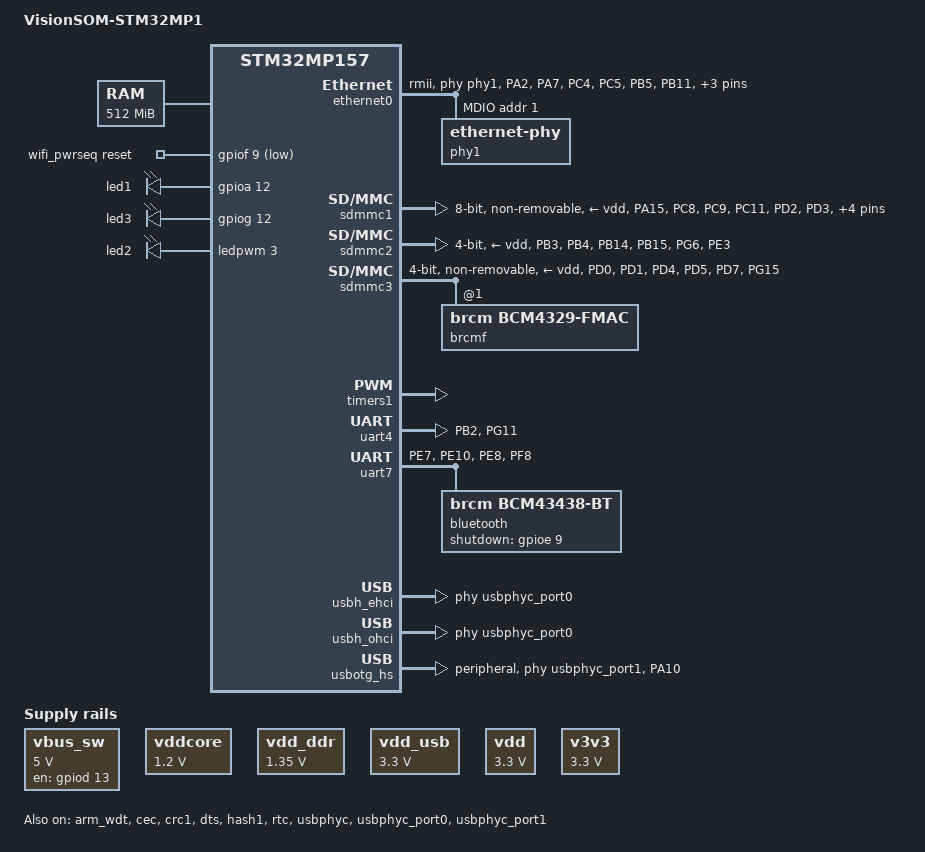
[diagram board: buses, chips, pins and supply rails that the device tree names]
/dts-v1/;

#include "stm32mp157.dtsi"
#include "stm32mp15xa.dtsi"
#include "stm32mp15-pinctrl.dtsi"
#include "stm32mp15xxaa-pinctrl.dtsi"
#include "stm32mp15-m4-srm.dtsi"
#include "stm32mp15-m4-srm-pinctrl.dtsi"
#include "stm32mp15-scmi.dtsi"

#include <dt-bindings/rtc/rtc-stm32.h>

/ {
        model = "VisionSOM-STM32MP1";
        compatible = "st,stm32mp157a-dsi-rvt70hsmnwc00-emmc-mx", "st,stm32mp157";

        aliases {
                ethernet0 = &ethernet0;
                serial0 = &uart4;
                serial1 = &uart7;
                mmc0 = &sdmmc1;
                mmc1 = &sdmmc2;
                mmc2 = &sdmmc3;
        };

        chosen {
                stdout-path = "serial0:115200n8";
        };

        memory@c0000000 {
                device_type = "memory";
                reg = <0xc0000000 0x20000000>;
        };

        usb_phy_tuning: usb-phy-tuning {
                st,hs-dc-level = <2>;
                st,fs-rftime-tuning;
                st,hs-rftime-reduction;
                st,hs-current-trim = <15>;
                st,hs-impedance-trim = <1>;
                st,squelch-level = <3>;
                st,hs-rx-offset = <2>;
                st,no-lsfs-sc;
        };

        vbus_sw: regulator_vbus_sw {
                compatible = "regulator-fixed";
                regulator-name = "usb_vbus";
                regulator-min-microvolt = <5000000>;
                regulator-max-microvolt = <5000000>;
                gpio = <&gpiod 13 GPIO_ACTIVE_HIGH>;
                enable-active-high;
                regulator-always-on;
        };

        vddcore: regulator-vddcore {
                compatible = "regulator-fixed";
                regulator-name = "vddcore";
                regulator-min-microvolt = <1200000>;
                regulator-max-microvolt = <1200000>;
                regulator-always-on;
        };

        vdd_ddr: regulator-vdd_ddr {
                compatible = "regulator-fixed";
                regulator-name = "vdd_ddr";
                regulator-min-microvolt = <1350000>;
                regulator-max-microvolt = <1350000>;
                regulator-always-on;
        };

        vdd_usb: regulator-vdd_usb {
                compatible = "regulator-fixed";
                regulator-name = "vdd_usb";
                regulator-min-microvolt = <3300000>;
                regulator-max-microvolt = <3300000>;
                regulator-always-on;
        };

        vdd: regulator-vdd {
                compatible = "regulator-fixed";
                regulator-name = "vdd";
                regulator-min-microvolt = <3300000>;
                regulator-max-microvolt = <3300000>;
                regulator-always-on;
        };

        v3v3: regulator-v3v3 {
                compatible = "regulator-fixed";
                regulator-name = "v3v3";
                regulator-min-microvolt = <3300000>;
                regulator-max-microvolt = <3300000>;
                regulator-always-on;
        };

        wifi_pwrseq: wifi-pwrseq {
                compatible = "mmc-pwrseq-simple";
                reset-gpios = <&gpiof 9 GPIO_ACTIVE_LOW>;
        };

        reserved-memory {
                #address-cells = <1>;
                #size-cells = <1>;
                ranges;

                gpu_reserved: gpu@d4000000 {
                        reg = <0xd4000000 0x4000000>;
                        no-map;
                };

                optee@de000000 {
                        reg = <0xde000000 0x2000000>;
                        no-map;
                };
        };

        led {
                compatible = "gpio-leds";

                led1 {
                        label = "led1";
                        gpios = <&gpioa 12 GPIO_ACTIVE_HIGH>;
                        linux,default-trigger = "heartbeat";
                };

                led3 {
                        label = "led3";
                        gpios = <&gpiog 12 GPIO_ACTIVE_HIGH>;
                        default-state = "off";
                };

        };

        ledpwm {
                compatible = "pwm-leds";
                led2 {
                        label = "led2";
                        pwms = <&ledpwm 3 500000 0>;
                        max-brightness = <127>;
                };
        };
};

&arm_wdt {
        timeout-sec = <32>;
        status = "okay";
};

&cec {
        pinctrl-names = "default", "sleep";
        pinctrl-0 = <&cec_pins_b>;
        pinctrl-1 = <&cec_sleep_pins_b>;
        status = "okay";
};

&cpu0 {
        cpu-supply = <&vddcore>;
        clocks = <&scmi_clk CK_SCMI_MPU>;
};

&cpu1 {
        cpu-supply = <&vddcore>;
        clocks = <&scmi_clk CK_SCMI_MPU>;
};

&crc1 {
        status = "okay";
};

&dsi {
        clocks = <&rcc DSI>, <&scmi_clk CK_SCMI_HSE>, <&rcc DSI_PX>;
};

&dts {
        status = "okay";
};

&ethernet0 {
        pinctrl-names = "default", "sleep";
        pinctrl-0 = <&eth1_pins_mx>;
        pinctrl-1 = <&eth1_sleep_pins_mx>;
        status = "okay";

        phy-mode = "rmii";
        max-speed = <100>;
        phy-handle = <&phy1>;
        st,eth-ref-clk-sel;
        clock-names = "stmmaceth",
                "eth-ck",
                "mac-clk-tx",
                "mac-clk-rx",
                "ethstp";
        clocks = <&rcc ETHMAC>,
                <&rcc ETHCK_K>,
                <&rcc ETHTX>,
                <&rcc ETHRX>,
                <&rcc ETHSTP>;

        mdio0 {
                #address-cells = <1>;
                #size-cells = <0>;
                compatible = "snps,dwmac-mdio";
                phy1: ethernet-phy@1 {
                        reg = <1>;
                        clocks = <&rcc ETHCK_K>;
                        clock-names = "rmii-ref";
                };
        };
};

&gpioz {
        clocks = <&scmi_clk CK_SCMI_GPIOZ>;
};

&gpu {
        contiguous-area = <&gpu_reserved>;
};

&hash1 {
        clocks = <&scmi_clk CK_SCMI_HASH1>;
        resets = <&scmi_reset RST_SCMI_HASH1>;
        status = "okay";
};

&ipcc {
        status = "okay";
};

&mdma1 {
        resets = <&scmi_reset RST_SCMI_MDMA>;
};

&mlahb {
        resets = <&scmi_reset RST_SCMI_MCU>;
};

&pwr_regulators {
        vdd-supply = <&vdd>;
        vdd_3v3_usbfs-supply = <&vdd_usb>;
};

&rcc {
        compatible = "st,stm32mp1-rcc-secure", "syscon";
        clock-names = "hse", "hsi", "csi", "lse", "lsi";
        clocks = <&scmi_clk CK_SCMI_HSE>,
                 <&scmi_clk CK_SCMI_HSI>,
                 <&scmi_clk CK_SCMI_CSI>,
                 <&scmi_clk CK_SCMI_LSE>,
                 <&scmi_clk CK_SCMI_LSI>;
};

&rng1 {
        clocks = <&scmi_clk CK_SCMI_RNG1>;
        resets = <&scmi_reset RST_SCMI_RNG1>;
};

&rtc {
        pinctrl-names = "default", "sleep";
        pinctrl-0 = <&rtc_pins_mx>;
        pinctrl-1 = <&rtc_sleep_pins_mx>;

        clocks = <&scmi_clk CK_SCMI_RTCAPB>, <&scmi_clk CK_SCMI_RTC>;
        status = "okay";

        st,lsco = <RTC_OUT1>;
};

&sdmmc1{
        pinctrl-names = "default", "opendrain", "sleep";
        pinctrl-0 = <&sdmmc1_pins_mx>;
        pinctrl-1 = <&sdmmc1_opendrain_pins_mx>;
        pinctrl-2 = <&sdmmc1_sleep_pins_mx>;
        status = "okay";

        non-removable;
        no-sd;
        no-sdio;
        st,neg-edge;
        bus-width = <8>;
        vmmc-supply = <&vdd>;
        vqmmc-supply = <&vdd>;
        mmc-ddr-3_3v;
};

&sdmmc2{
        pinctrl-names = "default", "opendrain", "sleep";
        pinctrl-0 = <&sdmmc2_pins_mx>;
        pinctrl-1 = <&sdmmc2_opendrain_pins_mx>;
        pinctrl-2 = <&sdmmc2_sleep_pins_mx>;
        status = "okay";

        broken-cd;
        st,neg-edge;
        bus-width = <4>;
        vmmc-supply = <&vdd>;
};

&sdmmc3{
        pinctrl-names = "default", "opendrain", "sleep";
        pinctrl-0 = <&sdmmc3_pins_mx>;
        pinctrl-1 = <&sdmmc3_opendrain_pins_mx>;
        pinctrl-2 = <&sdmmc3_sleep_pins_mx>;
        status = "okay";

        arm,primecell-periphid = <0x10153180>;
        non-removable;
        st,neg-edge;
        bus-width = <4>;
        vmmc-supply = <&vdd>;
        mmc-pwrseq = <&wifi_pwrseq>;
        #address-cells = <1>;
        #size-cells = <0>;
        keep-power-in-suspend;

        brcmf: bcrmf@1 {
                reg = <1>;
                compatible = "brcm,bcm4329-fmac";
        };
};

&timers1{
        status = "okay";

        /delete-property/dmas;
        /delete-property/dma-names;

        ledpwm: pwm{
                pinctrl-names = "default", "sleep";
                pinctrl-0 = <&tim1_pwm_pins_mx>;
                pinctrl-1 = <&tim1_pwm_sleep_pins_mx>;
                status = "okay";
        };
};

&uart4 {
        pinctrl-names = "default", "idle", "sleep";
        pinctrl-0 = <&uart4_pins_mx>;
        pinctrl-1 = <&uart4_idle_pins_mx>;
        pinctrl-2 = <&uart4_sleep_pins_mx>;
        status = "okay";

        /delete-property/dmas;
        /delete-property/dma-names;
};

&uart7 {
        pinctrl-names = "default", "idle", "sleep";
        pinctrl-0 = <&uart7_pins_mx>;
        pinctrl-1 = <&uart7_idle_pins_mx>;
        pinctrl-2 = <&uart7_sleep_pins_mx>;
        status = "okay";

        u-boot,dm-pre-reloc;
        uart-has-rtscts;

        bluetooth {
                shutdown-gpios = <&gpioe 9 GPIO_ACTIVE_HIGH>;
                compatible = "brcm,bcm43438-bt";
                max-speed = <3000000>;
        };
};

&usbh_ehci{
        status = "okay";

        phys = <&usbphyc_port0>;
        phy-names = "usb";
};

&usbh_ohci{
        status = "okay";

        phys = <&usbphyc_port0>;
        phy-names = "usb";
};

&usbotg_hs{
        pinctrl-names = "default", "sleep";
        pinctrl-0 = <&usb_otg_hs_pins_mx>;
        pinctrl-1 = <&usb_otg_hs_sleep_pins_mx>;
        status = "okay";

        dr_mode = "peripheral";
        force-b-session-valid;
        phys = <&usbphyc_port1 0>;
        phy-names = "usb2-phy";
};

&usbphyc{
        status = "okay";
};

&usbphyc_port0{
        status = "okay";

        phy-supply = <&vdd>;
        st,phy-tuning = <&usb_phy_tuning>;
};

&usbphyc_port1{
        status = "okay";

        phy-supply = <&vdd>;
        st,phy-tuning = <&usb_phy_tuning>;
};

&pinctrl {
        eth1_pins_mx: eth1_mx-0 {
                pins1 {
                        pinmux = <STM32_PINMUX('A', 2, AF11)>; /* ETH1_MDIO */
                        bias-pull-up;
                        drive-push-pull;
                        slew-rate = <0>;
                };
                pins2 {
                        pinmux = <STM32_PINMUX('A', 7, AF11)>, /* ETH1_CRS_DV */
                                         <STM32_PINMUX('C', 4, AF11)>, /* ETH1_RXD0 */
                                         <STM32_PINMUX('C', 5, AF11)>; /* ETH1_RXD1 */
                        bias-disable;
                };
                pins3 {
                        pinmux = <STM32_PINMUX('B', 5, AF0)>, /* ETH1_CLK */
                                         <STM32_PINMUX('B', 11, AF11)>, /* ETH1_TX_EN */
                                         <STM32_PINMUX('B', 13, AF11)>, /* ETH1_TXD1 */
                                         <STM32_PINMUX('C', 1, AF11)>, /* ETH1_MDC */
                                         <STM32_PINMUX('G', 13, AF11)>; /* ETH1_TXD0 */
                        bias-disable;
                        drive-push-pull;
                        slew-rate = <1>;
                };
        };

        eth1_sleep_pins_mx: eth1_sleep_mx-0 {
                pins {
                        pinmux = <STM32_PINMUX('A', 2, ANALOG)>, /* ETH1_MDIO */
                                         <STM32_PINMUX('A', 7, ANALOG)>, /* ETH1_CRS_DV */
                                         <STM32_PINMUX('B', 5, ANALOG)>, /* ETH1_CLK */
                                         <STM32_PINMUX('B', 11, ANALOG)>, /* ETH1_TX_EN */
                                         <STM32_PINMUX('B', 13, ANALOG)>, /* ETH1_TXD1 */
                                         <STM32_PINMUX('C', 1, ANALOG)>, /* ETH1_MDC */
                                         <STM32_PINMUX('C', 4, ANALOG)>, /* ETH1_RXD0 */
                                         <STM32_PINMUX('C', 5, ANALOG)>, /* ETH1_RXD1 */
                                         <STM32_PINMUX('G', 13, ANALOG)>; /* ETH1_TXD0 */
                };
        };

        rtc_pins_mx: rtc_mx-0 {
                pins {
                        pinmux = <STM32_PINMUX('C', 13, ANALOG)>; /* RTC_LSCO */
                };
        };

        rtc_sleep_pins_mx: rtc_sleep_mx-0 {
                pins {
                        pinmux = <STM32_PINMUX('C', 13, ANALOG)>; /* RTC_LSCO */
                };
        };

        sdmmc1_pins_mx: sdmmc1_mx-0 {
                pins1 {
                        pinmux = <STM32_PINMUX('A', 15, AF11)>, /* SDMMC1_D5 */
                                         <STM32_PINMUX('C', 8, AF12)>, /* SDMMC1_D0 */
                                         <STM32_PINMUX('C', 9, AF12)>, /* SDMMC1_D1 */
                                         <STM32_PINMUX('C', 11, AF12)>, /* SDMMC1_D3 */
                                         <STM32_PINMUX('D', 2, AF12)>, /* SDMMC1_CMD */
                                         <STM32_PINMUX('D', 3, AF11)>, /* SDMMC1_D7 */
                                         <STM32_PINMUX('E', 4, AF11)>, /* SDMMC1_D4 */
                                         <STM32_PINMUX('E', 5, AF11)>, /* SDMMC1_D6 */
                                         <STM32_PINMUX('E', 6, AF8)>; /* SDMMC1_D2 */
                        bias-pull-up;
                        drive-push-pull;
                        slew-rate = <1>;
                };
                pins2 {
                        pinmux = <STM32_PINMUX('C', 12, AF12)>; /* SDMMC1_CK */
                        bias-pull-up;
                        drive-push-pull;
                        slew-rate = <3>;
                };
        };

        sdmmc1_opendrain_pins_mx: sdmmc1_opendrain_mx-0 {
                pins1 {
                        pinmux = <STM32_PINMUX('A', 15, AF11)>, /* SDMMC1_D5 */
                                         <STM32_PINMUX('C', 8, AF12)>, /* SDMMC1_D0 */
                                         <STM32_PINMUX('C', 9, AF12)>, /* SDMMC1_D1 */
                                         <STM32_PINMUX('C', 11, AF12)>, /* SDMMC1_D3 */
                                         <STM32_PINMUX('D', 3, AF11)>, /* SDMMC1_D7 */
                                         <STM32_PINMUX('E', 4, AF11)>, /* SDMMC1_D4 */
                                         <STM32_PINMUX('E', 5, AF11)>, /* SDMMC1_D6 */
                                         <STM32_PINMUX('E', 6, AF8)>; /* SDMMC1_D2 */
                        bias-pull-up;
                        drive-push-pull;
                        slew-rate = <1>;
                };
                pins2 {
                        pinmux = <STM32_PINMUX('C', 12, AF12)>; /* SDMMC1_CK */
                        bias-pull-up;
                        drive-push-pull;
                        slew-rate = <3>;
                };
                pins3 {
                        pinmux = <STM32_PINMUX('D', 2, AF12)>; /* SDMMC1_CMD */
                        bias-pull-up;
                        drive-open-drain;
                        slew-rate = <1>;
                };
        };
  
        sdmmc1_sleep_pins_mx: sdmmc1_sleep_mx-0 {
                pins {
                        pinmux = <STM32_PINMUX('A', 15, ANALOG)>, /* SDMMC1_D5 */
                                         <STM32_PINMUX('C', 8, ANALOG)>, /* SDMMC1_D0 */
                                         <STM32_PINMUX('C', 9, ANALOG)>, /* SDMMC1_D1 */
                                         <STM32_PINMUX('C', 11, ANALOG)>, /* SDMMC1_D3 */
                                         <STM32_PINMUX('C', 12, ANALOG)>, /* SDMMC1_CK */
                                         <STM32_PINMUX('D', 2, ANALOG)>, /* SDMMC1_CMD */
                                         <STM32_PINMUX('D', 3, ANALOG)>, /* SDMMC1_D7 */
                                         <STM32_PINMUX('E', 4, ANALOG)>, /* SDMMC1_D4 */
                                         <STM32_PINMUX('E', 5, ANALOG)>, /* SDMMC1_D6 */
                                         <STM32_PINMUX('E', 6, ANALOG)>; /* SDMMC1_D2 */
                };
        };

        sdmmc2_pins_mx: sdmmc2_mx-0 {
                pins1 {
                        pinmux = <STM32_PINMUX('B', 3, AF9)>, /* SDMMC2_D2 */
                                         <STM32_PINMUX('B', 4, AF9)>, /* SDMMC2_D3 */
                                         <STM32_PINMUX('B', 14, AF9)>, /* SDMMC2_D0 */
                                         <STM32_PINMUX('B', 15, AF9)>, /* SDMMC2_D1 */
                                         <STM32_PINMUX('G', 6, AF10)>; /* SDMMC2_CMD */
                        bias-pull-up;
                        drive-push-pull;
                        slew-rate = <1>;
                };
                pins2 {
                        pinmux = <STM32_PINMUX('E', 3, AF9)>; /* SDMMC2_CK */
                        bias-pull-up;
                        drive-push-pull;
                        slew-rate = <3>;
                };
        };

        sdmmc2_opendrain_pins_mx: sdmmc2_opendrain_mx-0 {
                pins1 {
                        pinmux = <STM32_PINMUX('B', 3, AF9)>, /* SDMMC2_D2 */
                                         <STM32_PINMUX('B', 4, AF9)>, /* SDMMC2_D3 */
                                         <STM32_PINMUX('B', 14, AF9)>, /* SDMMC2_D0 */
                                         <STM32_PINMUX('B', 15, AF9)>; /* SDMMC2_D1 */
                        bias-pull-up;
                        drive-push-pull;
                        slew-rate = <1>;
                };
                pins2 {
                        pinmux = <STM32_PINMUX('E', 3, AF9)>; /* SDMMC2_CK */
                        bias-pull-up;
                        drive-push-pull;
                        slew-rate = <3>;
                };
                pins3 {
                        pinmux = <STM32_PINMUX('G', 6, AF10)>; /* SDMMC2_CMD */
                        bias-pull-up;
                        drive-open-drain;
                        slew-rate = <1>;
                };
        };

        sdmmc2_sleep_pins_mx: sdmmc2_sleep_mx-0 {
                pins {
                        pinmux = <STM32_PINMUX('B', 3, ANALOG)>, /* SDMMC2_D2 */
                                         <STM32_PINMUX('B', 4, ANALOG)>, /* SDMMC2_D3 */
                                         <STM32_PINMUX('B', 14, ANALOG)>, /* SDMMC2_D0 */
                                         <STM32_PINMUX('B', 15, ANALOG)>, /* SDMMC2_D1 */
                                         <STM32_PINMUX('E', 3, ANALOG)>, /* SDMMC2_CK */
                                         <STM32_PINMUX('G', 6, ANALOG)>; /* SDMMC2_CMD */
                };
        };

        sdmmc3_pins_mx: sdmmc3_mx-0 {
                pins1 {
                        pinmux = <STM32_PINMUX('D', 0, AF10)>, /* SDMMC3_CMD */
                                         <STM32_PINMUX('D', 1, AF10)>, /* SDMMC3_D0 */
                                         <STM32_PINMUX('D', 4, AF10)>, /* SDMMC3_D1 */
                                         <STM32_PINMUX('D', 5, AF10)>, /* SDMMC3_D2 */
                                         <STM32_PINMUX('D', 7, AF10)>; /* SDMMC3_D3 */
                        bias-disable;
                        drive-push-pull;
                        slew-rate = <1>;
                };
                pins2 {
                        pinmux = <STM32_PINMUX('G', 15, AF10)>; /* SDMMC3_CK */
                        bias-disable;
                        drive-push-pull;
                        slew-rate = <3>;
                };
        };

        sdmmc3_opendrain_pins_mx: sdmmc3_opendrain_mx-0 {
                pins1 {
                        pinmux = <STM32_PINMUX('D', 0, AF10)>; /* SDMMC3_CMD */
                        bias-disable;
                        drive-open-drain;
                        slew-rate = <1>;
                };
                pins2 {
                        pinmux = <STM32_PINMUX('D', 1, AF10)>, /* SDMMC3_D0 */
                                         <STM32_PINMUX('D', 4, AF10)>, /* SDMMC3_D1 */
                                         <STM32_PINMUX('D', 5, AF10)>, /* SDMMC3_D2 */
                                         <STM32_PINMUX('D', 7, AF10)>; /* SDMMC3_D3 */
                        bias-disable;
                        drive-push-pull;
                        slew-rate = <1>;
                };
                pins3 {
                        pinmux = <STM32_PINMUX('G', 15, AF10)>; /* SDMMC3_CK */
                        bias-disable;
                        drive-push-pull;
                        slew-rate = <3>;
                };
        };

        sdmmc3_sleep_pins_mx: sdmmc3_sleep_mx-0 {
                pins {
                        pinmux = <STM32_PINMUX('D', 0, ANALOG)>, /* SDMMC3_CMD */
                                         <STM32_PINMUX('D', 1, ANALOG)>, /* SDMMC3_D0 */
                                         <STM32_PINMUX('D', 4, ANALOG)>, /* SDMMC3_D1 */
                                         <STM32_PINMUX('D', 5, ANALOG)>, /* SDMMC3_D2 */
                                         <STM32_PINMUX('D', 7, ANALOG)>, /* SDMMC3_D3 */
                                         <STM32_PINMUX('G', 15, ANALOG)>; /* SDMMC3_CK */
                };
        };

        tim1_pwm_pins_mx: tim1_pwm_mx-0 {
                pins {
                        pinmux = <STM32_PINMUX('A', 11, AF1)>; /* TIM1_CH4 */
                        bias-disable;
                        drive-push-pull;
                        slew-rate = <0>;
                };
        };

        tim1_pwm_sleep_pins_mx: tim1_pwm_sleep_mx-0 {
                pins {
                        pinmux = <STM32_PINMUX('A', 11, ANALOG)>; /* TIM1_CH4 */
                };
        };

        uart4_pins_mx: uart4_mx-0 {
                pins1 {
                        pinmux = <STM32_PINMUX('B', 2, AF8)>; /* UART4_RX */
                        bias-disable;
                };
                pins2 {
                        pinmux = <STM32_PINMUX('G', 11, AF6)>; /* UART4_TX */
                        bias-disable;
                        drive-push-pull;
                        slew-rate = <0>;
                };
        };

        uart4_idle_pins_mx: uart4_idle_mx-0 {
                pins1 {
                        pinmux = <STM32_PINMUX('B', 2, AF8)>; /* UART4_RX */
                        bias-disable;
                };
                pins2 {
                        pinmux = <STM32_PINMUX('G', 11, ANALOG)>; /* UART4_TX */
                };
        };

        uart4_sleep_pins_mx: uart4_sleep_mx-0 {
                pins {
                        pinmux = <STM32_PINMUX('B', 2, ANALOG)>, /* UART4_RX */
                                         <STM32_PINMUX('G', 11, ANALOG)>; /* UART4_TX */
                };
        };

        uart7_pins_mx: uart7_mx-0 {
                pins1 {
                        pinmux = <STM32_PINMUX('E', 7, AF7)>, /* UART7_RX */
                                         <STM32_PINMUX('E', 10, AF7)>; /* UART7_CTS */
                        bias-disable;
                };
                pins2 {
                        pinmux = <STM32_PINMUX('E', 8, AF7)>, /* UART7_TX */
                                         <STM32_PINMUX('F', 8, AF7)>; /* UART7_RTS */
                        bias-disable;
                        drive-push-pull;
                        slew-rate = <0>;
                };
        };

        uart7_idle_pins_mx: uart7_idle_mx-0 {
                pins1 {
                        pinmux = <STM32_PINMUX('E', 8, ANALOG)>, /* UART7_TX */
                                         <STM32_PINMUX('E', 10, ANALOG)>; /* UART7_CTS */
                };
                pins2 {
                        pinmux = <STM32_PINMUX('E', 7, AF7)>; /* UART7_RX */
                        bias-disable;
                };
                pins3 {
                        pinmux = <STM32_PINMUX('F', 8, AF7)>; /* UART7_RTS */
                        bias-disable;
                        drive-push-pull;
                        slew-rate = <0>;
                };
        };

        uart7_sleep_pins_mx: uart7_sleep_mx-0 {
                pins {
                        pinmux = <STM32_PINMUX('E', 7, ANALOG)>, /* UART7_RX */
                                         <STM32_PINMUX('E', 8, ANALOG)>, /* UART7_TX */
                                         <STM32_PINMUX('E', 10, ANALOG)>, /* UART7_CTS */
                                         <STM32_PINMUX('F', 8, ANALOG)>; /* UART7_RTS */
                };
        };

        usb_otg_hs_pins_mx: usb_otg_hs_mx-0 {
                pins {
                        pinmux = <STM32_PINMUX('A', 10, ANALOG)>; /* USB_OTG_HS_ID */
                };
        };

        usb_otg_hs_sleep_pins_mx: usb_otg_hs_sleep_mx-0 {
                pins {
                        pinmux = <STM32_PINMUX('A', 10, ANALOG)>; /* USB_OTG_HS_ID */
                };
        };
};
